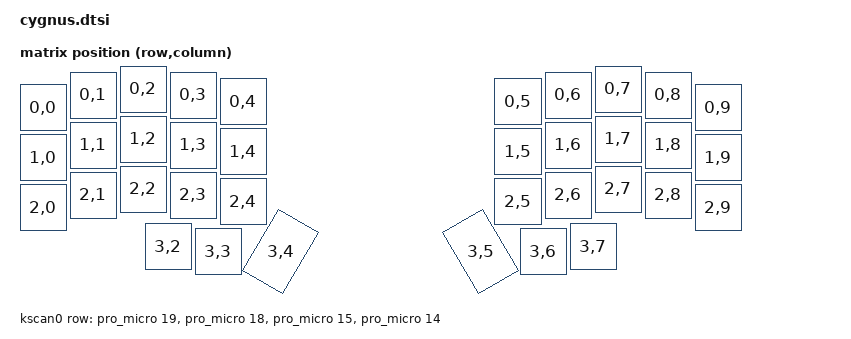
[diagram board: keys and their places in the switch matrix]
/*
 * Copyright (c) 2020 Pete Johanson
 *
 * SPDX-License-Identifier: MIT
 */
#include <dt-bindings/zmk/matrix_transform.h>
#include <physical_layouts.dtsi>
/ {
    chosen {
        zephyr,display = &oled;
        zmk,kscan = &kscan0;
        zmk,physical-layout = &my_custom_layout;
    };
    default_transform: keymap_transform_0 {
        compatible = "zmk,matrix-transform";
        columns = <10>;
        rows = <4>;
        map = <
        RC(0,0) RC(0,1) RC(0,2) RC(0,3) RC(0,4)     RC(0,5) RC(0,6) RC(0,7) RC(0,8) RC(0,9)
        RC(1,0) RC(1,1) RC(1,2) RC(1,3) RC(1,4)     RC(1,5) RC(1,6) RC(1,7) RC(1,8) RC(1,9)
        RC(2,0) RC(2,1) RC(2,2) RC(2,3) RC(2,4)     RC(2,5) RC(2,6) RC(2,7) RC(2,8) RC(2,9)
                        RC(3,2) RC(3,3) RC(3,4)     RC(3,5) RC(3,6) RC(3,7)
        >;
    };
    my_custom_layout: my_custom_layout {
        compatible = "zmk,physical-layout";
        display-name = "Cygnus 3x5";
        transform = <&default_transform>;
        keys =
            // Row 0 Left
            <&key_physical_attrs 100 100    0  137        0     0     0>, <&key_physical_attrs 100 100  100  112        0     0     0>, <&key_physical_attrs 100 100  200  100        0     0     0>, <&key_physical_attrs 100 100  300  112        0     0     0>, <&key_physical_attrs 100 100  400  125        0     0     0>,
            // Row 0 Right
            <&key_physical_attrs 100 100  950  125        0     0     0>, <&key_physical_attrs 100 100 1050  112        0     0     0>, <&key_physical_attrs 100 100 1150  100        0     0     0>, <&key_physical_attrs 100 100 1250  112        0     0     0>, <&key_physical_attrs 100 100 1350  137        0     0     0>,
            // Row 1 Left
            <&key_physical_attrs 100 100    0  237        0     0     0>, <&key_physical_attrs 100 100  100  212        0     0     0>, <&key_physical_attrs 100 100  200  200        0     0     0>, <&key_physical_attrs 100 100  300  212        0     0     0>, <&key_physical_attrs 100 100  400  225        0     0     0>,
            // Row 1 Right
            <&key_physical_attrs 100 100  950  225        0     0     0>, <&key_physical_attrs 100 100 1050  212        0     0     0>, <&key_physical_attrs 100 100 1150  200        0     0     0>, <&key_physical_attrs 100 100 1250  212        0     0     0>, <&key_physical_attrs 100 100 1350  237        0     0     0>,
            // Row 2 Left
            <&key_physical_attrs 100 100    0  337        0     0     0>, <&key_physical_attrs 100 100  100  312        0     0     0>, <&key_physical_attrs 100 100  200  300        0     0     0>, <&key_physical_attrs 100 100  300  312        0     0     0>, <&key_physical_attrs 100 100  400  325        0     0     0>,
            // Row 2 Right
            <&key_physical_attrs 100 100  950  325        0     0     0>, <&key_physical_attrs 100 100 1050  312        0     0     0>, <&key_physical_attrs 100 100 1150  300        0     0     0>, <&key_physical_attrs 100 100 1250  312        0     0     0>, <&key_physical_attrs 100 100 1350  337        0     0     0>,
            // Thumbs Left (outer -> inner)
            <&key_physical_attrs 100 100  250  415        0     0     0>, <&key_physical_attrs 100 100  350  425        0     0     0>, <&key_physical_attrs 100 150  475  400     3000   525   475>,
            // Thumbs Right (inner -> outer)
            <&key_physical_attrs 100 150  875  400  (-3000)   925   475>, <&key_physical_attrs 100 100 1000  425        0     0     0>, <&key_physical_attrs 100 100 1100  415        0     0     0>;
    };
    kscan0: kscan {
        compatible = "zmk,kscan-gpio-matrix";
        wakeup-source;
        diode-direction = "col2row";
        row-gpios
            = <&pro_micro 19 (GPIO_ACTIVE_HIGH | GPIO_PULL_DOWN)>
            , <&pro_micro 18 (GPIO_ACTIVE_HIGH | GPIO_PULL_DOWN)>
            , <&pro_micro 15 (GPIO_ACTIVE_HIGH | GPIO_PULL_DOWN)>
            , <&pro_micro 14 (GPIO_ACTIVE_HIGH | GPIO_PULL_DOWN)>
            ;
    };
};
&pro_micro_i2c {
    status = "okay";
    oled: ssd1306@3c {
        compatible = "solomon,ssd1306fb";
        reg = <0x3c>;
        width = <128>;
        height = <32>;
        segment-offset = <0>;
        page-offset = <0>;
        display-offset = <0>;
        multiplex-ratio = <31>;
        segment-remap;
        com-invdir;
        com-sequential;
        inversion-on;
        prechargep = <0x22>;
    };
};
